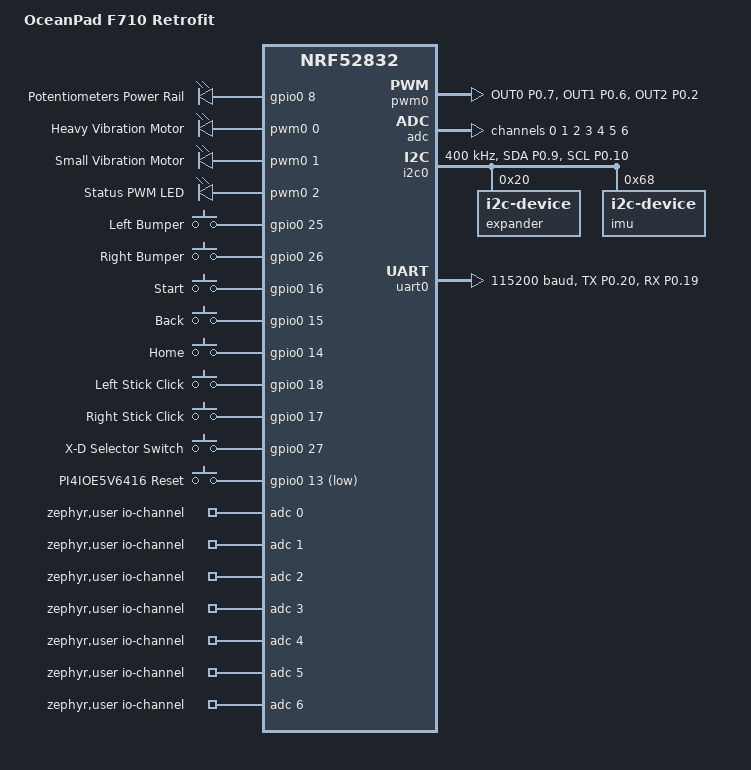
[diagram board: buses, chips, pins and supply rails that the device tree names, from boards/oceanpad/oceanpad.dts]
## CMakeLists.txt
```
cmake_minimum_required(VERSION 3.20.0)

find_package(Zephyr REQUIRED HINTS $ENV{ZEPHYR_BASE})
project(oceanpad)

# 1. Add 'include' directory to the search path
target_include_directories(app PRIVATE include)

# 2. Automatically find all .cpp files in the src directory
file(GLOB_RECURSE app_sources src/*.cpp)

# 3. Add all found files to the build
target_sources(app PRIVATE ${app_sources})
```

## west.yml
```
 manifest:
  remotes:
    - name: zephyrproject-rtos
      url-base: https://github.com/zephyrproject-rtos

  projects:
    - name: zephyr
      remote: zephyrproject-rtos
      revision: v4.3.0
      import:
        name-allowlist:
          - hal_nordic
          - mbedtls
          - cmsis_6

  self:
    path: oceanpad
```

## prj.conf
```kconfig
CONFIG_CPP=y
CONFIG_STD_CPP20=y
CONFIG_EXTERNAL_LIBCPP=n

CONFIG_SERIAL=y
CONFIG_CONSOLE=y
CONFIG_UART_CONSOLE=y
CONFIG_LOG=y
CONFIG_LOG_BACKEND_UART=y
CONFIG_I2C=y
CONFIG_ADC=y
CONFIG_GPIO=y
CONFIG_LED=y
CONFIG_LED_GPIO=y
CONFIG_REBOOT=y
CONFIG_FLASH=y
CONFIG_FLASH_PAGE_LAYOUT=y
CONFIG_FLASH_MAP=y
CONFIG_NVS=y
CONFIG_SETTINGS_NVS=y
CONFIG_SETTINGS=y
CONFIG_PWM=y

CONFIG_CLOCK_CONTROL_NRF_K32SRC_XTAL=y

CONFIG_BT=y
CONFIG_BT_PERIPHERAL=y
CONFIG_BT_DEVICE_NAME_DYNAMIC=y
CONFIG_BT_DEVICE_NAME_MAX=32
CONFIG_BT_DEVICE_APPEARANCE_DYNAMIC=y

CONFIG_BT_GATT_CLIENT=y
CONFIG_BT_GATT_DYNAMIC_DB=y

CONFIG_BT_PRIVACY=y
CONFIG_BT_BONDABLE=y
CONFIG_BT_SETTINGS=y
CONFIG_BT_ID_MAX=2
CONFIG_BT_MAX_PAIRED=3
CONFIG_BT_MAX_CONN=4
CONFIG_BT_FILTER_ACCEPT_LIST=y
CONFIG_BT_FIXED_PASSKEY=n

CONFIG_BT_PERIPHERAL_PREF_MIN_INT=6
CONFIG_BT_PERIPHERAL_PREF_MAX_INT=6
CONFIG_BT_PERIPHERAL_PREF_LATENCY=0
CONFIG_BT_PERIPHERAL_PREF_TIMEOUT=300

CONFIG_BT_SMP=y
CONFIG_BT_SMP_ALLOW_UNAUTH_OVERWRITE=y

CONFIG_BT_ID_UNPAIR_MATCHING_BONDS=y #unfortunately, I'm working on that

CONFIG_BT_DIS=n

CONFIG_BT_CTLR_TX_PWR_PLUS_4=y

#CONFIG_RESET_ON_FATAL_ERROR=n
#CONFIG_EXCEPTION_STACK_TRACE=y
#CONFIG_DEBUG_COREDUMP=y

#CONFIG_MAIN_STACK_SIZE=4096
CONFIG_SYSTEM_WORKQUEUE_STACK_SIZE=2048
#CONFIG_ISR_STACK_SIZE=2048
CONFIG_BT_RX_STACK_SIZE=2048

CONFIG_STACK_SENTINEL=y
CONFIG_INIT_STACKS=y

#CONFIG_THREAD_ANALYZER=y
#CONFIG_THREAD_ANALYZER_AUTO=y
#CONFIG_THREAD_ANALYZER_AUTO_INTERVAL=5

CONFIG_LOG_MODE_IMMEDIATE=y
```

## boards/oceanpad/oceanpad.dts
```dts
/dts-v1/;
#include <nordic/nrf52832_qfaa.dtsi>

/ {
    model = "OceanPad F710 Retrofit";
    compatible = "oceanpad";

    chosen {
        zephyr,sram = &sram0;
        zephyr,flash = &flash0;
        zephyr,code-partition = &slot0_partition;
        zephyr,console = &uart0;
        zephyr,shell-uart = &uart0;
        zephyr,settings-partition = &storage_partition;
    };

    /* Digital outputs (GPIO only) */
    leds {
        compatible = "gpio-leds";
        axes_pwr: axes_pwr_en {
            gpios = <&gpio0 8 GPIO_ACTIVE_HIGH>;
            label = "Potentiometers Power Rail";
        };
    };

    /* PWM Outputs: Vibration Motors & Status LED */
    pwmleds {
        compatible = "pwm-leds";
        motor_big: motor_0 {
            pwms = <&pwm0 0 PWM_USEC(50) PWM_POLARITY_NORMAL>;
            label = "Heavy Vibration Motor";
        };
        motor_small: motor_1 {
            pwms = <&pwm0 1 PWM_USEC(50) PWM_POLARITY_NORMAL>;
            label = "Small Vibration Motor";
        };
        status_pwm_led: led_pwm_0 {
            pwms = <&pwm0 2 PWM_USEC(50) PWM_POLARITY_NORMAL>;
            label = "Status PWM LED";
        };
    };

    /* MCU wired buttons */
    native_buttons {
        compatible = "gpio-keys";
        btn_lb: lb { gpios = <&gpio0 25 (GPIO_PULL_DOWN | GPIO_ACTIVE_HIGH)>; label = "Left Bumper"; };
        btn_rb: rb { gpios = <&gpio0 26 (GPIO_PULL_DOWN | GPIO_ACTIVE_HIGH)>; label = "Right Bumper"; };
        btn_start: start { gpios = <&gpio0 16 (GPIO_PULL_DOWN | GPIO_ACTIVE_HIGH)>; label = "Start"; };
        btn_back: back { gpios = <&gpio0 15 (GPIO_PULL_DOWN | GPIO_ACTIVE_HIGH)>; label = "Back"; };
        btn_home: home { gpios = <&gpio0 14 (GPIO_PULL_DOWN | GPIO_ACTIVE_HIGH)>; label = "Home"; };
        btn_ls: ls { gpios = <&gpio0 18 (GPIO_PULL_DOWN | GPIO_ACTIVE_HIGH)>; label = "Left Stick Click"; };
        btn_rs: rs { gpios = <&gpio0 17 (GPIO_PULL_DOWN | GPIO_ACTIVE_HIGH)>; label = "Right Stick Click"; };

        /* Mode switch selector X/D */
        mode_switch: sw {
            gpios = <&gpio0 27 (GPIO_PULL_UP | GPIO_ACTIVE_HIGH)>;
            label = "X-D Selector Switch";
        };
        expander_reset: exp_reset {
            gpios = <&gpio0 13 GPIO_ACTIVE_LOW>;
            label = "PI4IOE5V6416 Reset";
        };
    };

    /* ADC channels mapping */
    zephyr,user {
        io-channels =
            <&adc 0>, /* P0.29 - LSX (AIN5) */
            <&adc 1>, /* P0.28 - LSY (AIN4) */
            <&adc 2>, /* P0.31 - RSX (AIN7) */
            <&adc 3>, /* P0.30 - RSY (AIN6) */
            <&adc 4>, /* P0.03 - LT  (AIN1) */
            <&adc 5>, /* P0.04 - RT  (AIN2) */
            <&adc 6>; /* P0.05 - Battery (AIN3) */
    };
};

/* Hardware Overrides & Peripheral Configuration */

&pinctrl {
    uart0_default: uart0_default {
        group1 {
            psels = <NRF_PSEL(UART_TX, 0, 20)>,
                    <NRF_PSEL(UART_RX, 0, 19)>;
        };
    };

    uart0_sleep: uart0_sleep {
        group1 {
            psels = <NRF_PSEL(UART_TX, 0, 20)>,
                    <NRF_PSEL(UART_RX, 0, 19)>;
            low-power-enable;
        };
    };

    i2c0_default: i2c0_default {
        group1 {
            psels = <NRF_PSEL(TWIM_SDA, 0, 9)>,
                    <NRF_PSEL(TWIM_SCL, 0, 10)>;
        };
    };

    i2c0_sleep: i2c0_sleep {
        group1 {
            psels = <NRF_PSEL(TWIM_SDA, 0, 9)>,
                    <NRF_PSEL(TWIM_SCL, 0, 10)>;
            low-power-enable;
        };
    };

    pwm0_default: pwm0_default {
        group1 {
            psels = <NRF_PSEL(PWM_OUT0, 0, 7)>,  /* Heavy Motor */
                    <NRF_PSEL(PWM_OUT1, 0, 6)>,  /* Small Motor */
                    <NRF_PSEL(PWM_OUT2, 0, 2)>;  /* Status LED */
            nordic,drive-mode = <NRF_DRIVE_H0H1>;
        };
    };

    pwm0_sleep: pwm0_sleep {
        group1 {
            psels = <NRF_PSEL(PWM_OUT0, 0, 7)>,
                    <NRF_PSEL(PWM_OUT1, 0, 6)>,
                    <NRF_PSEL(PWM_OUT2, 0, 2)>;
            low-power-enable;
        };
    };
};

&reg {
    regulator-initial-mode = <NRF5X_REG_MODE_DCDC>;
};

&uicr {
    nfct-pins-as-gpios;
};

&gpio0 {
    status = "okay";
};

&gpiote {
    status = "okay";
};

&pwm0 {
    status = "okay";
    pinctrl-0 = <&pwm0_default>;
    pinctrl-1 = <&pwm0_sleep>;
    pinctrl-names = "default", "sleep";
};

&adc {
    status = "okay";
    #address-cells = <1>;
    #size-cells = <0>;

    channel@0 {
        reg = <0>;
        zephyr,gain = "ADC_GAIN_1_4";
        zephyr,reference = "ADC_REF_VDD_1_4";
        zephyr,acquisition-time = <ADC_ACQ_TIME_DEFAULT>;
        zephyr,input-positive = <NRF_SAADC_AIN5>;
        zephyr,resolution = <12>;
    };

    channel@1 {
        reg = <1>;
        zephyr,gain = "ADC_GAIN_1_4";
        zephyr,reference = "ADC_REF_VDD_1_4";
        zephyr,acquisition-time = <ADC_ACQ_TIME_DEFAULT>;
        zephyr,input-positive = <NRF_SAADC_AIN4>;
        zephyr,resolution = <12>;
    };

    channel@2 {
        reg = <2>;
        zephyr,gain = "ADC_GAIN_1_4";
        zephyr,reference = "ADC_REF_VDD_1_4";
        zephyr,acquisition-time = <ADC_ACQ_TIME_DEFAULT>;
        zephyr,input-positive = <NRF_SAADC_AIN7>;
        zephyr,resolution = <12>;
    };

    channel@3 {
        reg = <3>;
        zephyr,gain = "ADC_GAIN_1_4";
        zephyr,reference = "ADC_REF_VDD_1_4";
        zephyr,acquisition-time = <ADC_ACQ_TIME_DEFAULT>;
        zephyr,input-positive = <NRF_SAADC_AIN6>;
        zephyr,resolution = <12>;
    };

    channel@4 {
        reg = <4>;
        zephyr,gain = "ADC_GAIN_1_4";
        zephyr,reference = "ADC_REF_VDD_1_4";
        zephyr,acquisition-time = <ADC_ACQ_TIME_DEFAULT>;
        zephyr,input-positive = <NRF_SAADC_AIN1>;
        zephyr,resolution = <12>;
    };

    channel@5 {
        reg = <5>;
        zephyr,gain = "ADC_GAIN_1_4";
        zephyr,reference = "ADC_REF_VDD_1_4";
        zephyr,acquisition-time = <ADC_ACQ_TIME_DEFAULT>;
        zephyr,input-positive = <NRF_SAADC_AIN2>;
        zephyr,resolution = <12>;
    };

    channel@6 {
        reg = <6>;
        zephyr,gain = "ADC_GAIN_1_3";
        zephyr,reference = "ADC_REF_INTERNAL";
        zephyr,acquisition-time = <ADC_ACQ_TIME_DEFAULT>;
        zephyr,input-positive = <NRF_SAADC_AIN3>;
        zephyr,resolution = <12>;
    };
};

&i2c0 {
    compatible = "nordic,nrf-twim";
    status = "okay";
    pinctrl-0 = <&i2c0_default>;
    pinctrl-1 = <&i2c0_sleep>;
    pinctrl-names = "default", "sleep";
    clock-frequency = <I2C_BITRATE_FAST>;

    expander: pi4ioe5v6416@20 {
        compatible = "i2c-device";
        reg = <0x20>;
    };

    imu: icm42688@68 {
        compatible = "i2c-device";
        reg = <0x68>;
    };
};

&uart0 {
    compatible = "nordic,nrf-uarte";
    status = "okay";
    current-speed = <115200>;
    pinctrl-0 = <&uart0_default>;
    pinctrl-1 = <&uart0_sleep>;
    pinctrl-names = "default", "sleep";
};

&flash0 {
    partitions {
        compatible = "fixed-partitions";
        #address-cells = <1>;
        #size-cells = <1>;

        boot_partition: partition@0 { label = "mcuboot"; reg = <0x00000000 0xc000>; };
        slot0_partition: partition@c000 { label = "image-0"; reg = <0x0000c000 0x32000>; };
        slot1_partition: partition@3e000 { label = "image-1"; reg = <0x0003e000 0x32000>; };
        scratch_partition: partition@70000 { label = "image-scratch"; reg = <0x00070000 0xa000>; };
        storage_partition: partition@7a000 { label = "storage"; reg = <0x0007a000 0x00006000>; };
    };
};
```

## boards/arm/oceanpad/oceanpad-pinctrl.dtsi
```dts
&pinctrl {
    uart0_default: uart0_default {
        group1 {
            psels = <NRF_PSEL(UART_TX, 0, 20)>,
                    <NRF_PSEL(UART_RX, 0, 19)>;
        };
    };

    uart0_sleep: uart0_sleep {
        group1 {
            psels = <NRF_PSEL(UART_TX, 0, 20)>,
                    <NRF_PSEL(UART_RX, 0, 19)>;
            low-power-enable;
        };
    };

    i2c0_default: i2c0_default {
        group1 {
            psels = <NRF_PSEL(TWIM_SDA, 0, 9)>,
                    <NRF_PSEL(TWIM_SCL, 0, 10)>;
        };
    };

    i2c0_sleep: i2c0_sleep {
        group1 {
            psels = <NRF_PSEL(TWIM_SDA, 0, 9)>,
                    <NRF_PSEL(TWIM_SCL, 0, 10)>;
            low-power-enable;
        };
    };

    pwm0_default: pwm0_default {
        group1 {
            psels = <NRF_PSEL(PWM_OUT0, 0, 7)>,  /* Heavy Motor */
                    <NRF_PSEL(PWM_OUT1, 0, 6)>;  /* Small Motor */
            nordic,drive-mode = <NRF_DRIVE_H0H1>;
        };
    };

    pwm0_sleep: pwm0_sleep {
        group1 {
            psels = <NRF_PSEL(PWM_OUT0, 0, 7)>,
                    <NRF_PSEL(PWM_OUT1, 0, 6)>;
            low-power-enable;
        };
    };
};
```

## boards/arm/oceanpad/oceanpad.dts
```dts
/dts-v1/;
#include <nordic/nrf52832_qfaa.dtsi>
#include "oceanpad-pinctrl.dtsi"

/ {
    model = "OceanPad F710 Retrofit";
    compatible = "oceanpad";

    chosen {
        zephyr,sram = &sram0;
        zephyr,flash = &flash0;
        zephyr,code-partition = &slot0_partition;
        zephyr,console = &uart0;
        zephyr,shell-uart = &uart0;
        zephyr,settings-partition = &storage_partition;
    };

    /* Digital outputs (GPIO only) */
    leds {
        compatible = "gpio-leds";
        status_led: led_0 {
            gpios = <&gpio0 2 GPIO_ACTIVE_HIGH>;
            label = "Status LED";
        };
        axes_pwr: axes_pwr_en {
            gpios = <&gpio0 8 GPIO_ACTIVE_HIGH>;
            label = "Potentiometers Power Rail";
        };
    };

    /* PWM Vibration Motors */
    pwmleds {
        compatible = "pwm-leds";
        motor_big: motor_0 {
            pwms = <&pwm0 0 PWM_USEC(50) PWM_POLARITY_NORMAL>;
            label = "Heavy Vibration Motor";
        };
        motor_small: motor_1 {
            pwms = <&pwm0 1 PWM_USEC(50) PWM_POLARITY_NORMAL>;
            label = "Small Vibration Motor";
        };
    };

    /* MCU wired buttons */
    native_buttons {
        compatible = "gpio-keys";
        btn_lb: lb { gpios = <&gpio0 25 (GPIO_PULL_DOWN | GPIO_ACTIVE_HIGH)>; label = "Left Bumper"; };
        btn_rb: rb { gpios = <&gpio0 26 (GPIO_PULL_DOWN | GPIO_ACTIVE_HIGH)>; label = "Right Bumper"; };
        btn_start: start { gpios = <&gpio0 16 (GPIO_PULL_DOWN | GPIO_ACTIVE_HIGH)>; label = "Start"; };
        btn_back: back { gpios = <&gpio0 15 (GPIO_PULL_DOWN | GPIO_ACTIVE_HIGH)>; label = "Back"; };
        btn_home: home { gpios = <&gpio0 14 (GPIO_PULL_DOWN | GPIO_ACTIVE_HIGH)>; label = "Home"; };
        btn_ls: ls { gpios = <&gpio0 18 (GPIO_PULL_DOWN | GPIO_ACTIVE_HIGH)>; label = "Left Stick Click"; };
        btn_rs: rs { gpios = <&gpio0 17 (GPIO_PULL_DOWN | GPIO_ACTIVE_HIGH)>; label = "Right Stick Click"; };

        /* Mode switch selector X/D */
        mode_switch: sw {
            gpios = <&gpio0 27 (GPIO_PULL_UP | GPIO_ACTIVE_HIGH)>;
            label = "X-D Selector Switch";
        };
        expander_reset: exp_reset {
            gpios = <&gpio0 13 GPIO_ACTIVE_LOW>; // Активный низкий уровень
            label = "PI4IOE5V6416 Reset";
        };
    };

    /* ADC channels mapping */
    zephyr,user {
        io-channels =
            <&adc 0>, /* P0.29 - LSX (AIN5) */
            <&adc 1>, /* P0.28 - LSY (AIN4) */
            <&adc 2>, /* P0.31 - RSX (AIN7) */
            <&adc 3>, /* P0.30 - RSY (AIN6) */
            <&adc 4>, /* P0.03 - LT  (AIN1) */
            <&adc 5>, /* P0.04 - RT  (AIN2) */
            <&adc 6>; /* P0.05 - Battery (AIN3) */
    };
};

/* Hardware Overrides */

&reg {
    regulator-initial-mode = <NRF5X_REG_MODE_DCDC>;
};

&uicr {
    nfct-pins-as-gpios;
};

&gpio0 {
    status = "okay";
};

&gpiote {
    status = "okay";
};

&pwm0 {
    status = "okay";
    pinctrl-0 = <&pwm0_default>;
    pinctrl-1 = <&pwm0_sleep>;
    pinctrl-names = "default", "sleep";
};

&adc {
    status = "okay";
    #address-cells = <1>;
    #size-cells = <0>;

    channel@0 {
        reg = <0>;
        zephyr,gain = "ADC_GAIN_1_4";
        zephyr,reference = "ADC_REF_VDD_1_4";
        zephyr,acquisition-time = <ADC_ACQ_TIME_DEFAULT>;
        zephyr,input-positive = <NRF_SAADC_AIN5>;
        zephyr,resolution = <12>;
    };

    channel@1 {
        reg = <1>;
        zephyr,gain = "ADC_GAIN_1_4";
        zephyr,reference = "ADC_REF_VDD_1_4";
        zephyr,acquisition-time = <ADC_ACQ_TIME_DEFAULT>;
        zephyr,input-positive = <NRF_SAADC_AIN4>;
        zephyr,resolution = <12>;
    };

    channel@2 {
        reg = <2>;
        zephyr,gain = "ADC_GAIN_1_4";
        zephyr,reference = "ADC_REF_VDD_1_4";
        zephyr,acquisition-time = <ADC_ACQ_TIME_DEFAULT>;
        zephyr,input-positive = <NRF_SAADC_AIN7>;
        zephyr,resolution = <12>;
    };

    channel@3 {
        reg = <3>;
        zephyr,gain = "ADC_GAIN_1_4";
        zephyr,reference = "ADC_REF_VDD_1_4";
        zephyr,acquisition-time = <ADC_ACQ_TIME_DEFAULT>;
        zephyr,input-positive = <NRF_SAADC_AIN6>;
        zephyr,resolution = <12>;
    };

    channel@4 {
        reg = <4>;
        zephyr,gain = "ADC_GAIN_1_4";
        zephyr,reference = "ADC_REF_VDD_1_4";
        zephyr,acquisition-time = <ADC_ACQ_TIME_DEFAULT>;
        zephyr,input-positive = <NRF_SAADC_AIN1>;
        zephyr,resolution = <12>;
    };

    channel@5 {
        reg = <5>;
        zephyr,gain = "ADC_GAIN_1_4";
        zephyr,reference = "ADC_REF_VDD_1_4";
        zephyr,acquisition-time = <ADC_ACQ_TIME_DEFAULT>;
        zephyr,input-positive = <NRF_SAADC_AIN2>;
        zephyr,resolution = <12>;
    };

    channel@6 {
        reg = <6>;
        zephyr,gain = "ADC_GAIN_1_3";
        zephyr,reference = "ADC_REF_INTERNAL";
        zephyr,acquisition-time = <ADC_ACQ_TIME_DEFAULT>;
        zephyr,input-positive = <NRF_SAADC_AIN3>;
        zephyr,resolution = <12>;
    };
};

&i2c0 {
    compatible = "nordic,nrf-twim";
    status = "okay";
    pinctrl-0 = <&i2c0_default>;
    pinctrl-1 = <&i2c0_sleep>;
    pinctrl-names = "default", "sleep";
    clock-frequency = <I2C_BITRATE_FAST>;

    expander: pi4ioe5v6416@20 {
        compatible = "i2c-device";
        reg = <0x20>;
    };

    imu: icm42688@68 {
        compatible = "i2c-device";
        reg = <0x68>;
    };
};

&uart0 {
    compatible = "nordic,nrf-uarte";
    status = "okay";
    current-speed = <115200>;
    pinctrl-0 = <&uart0_default>;
    pinctrl-1 = <&uart0_sleep>;
    pinctrl-names = "default", "sleep";
};

&flash0 {
    partitions {
        compatible = "fixed-partitions";
        #address-cells = <1>;
        #size-cells = <1>;

        boot_partition: partition@0 { label = "mcuboot"; reg = <0x00000000 0xc000>; };
        slot0_partition: partition@c000 { label = "image-0"; reg = <0x0000c000 0x32000>; };
        slot1_partition: partition@3e000 { label = "image-1"; reg = <0x0003e000 0x32000>; };
        scratch_partition: partition@70000 { label = "image-scratch"; reg = <0x00070000 0xa000>; };
        storage_partition: partition@7a000 { label = "storage"; reg = <0x0007a000 0x00006000>; };
    };
};
```

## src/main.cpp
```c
#include "OceanPadApp.hpp"

static OceanPadApp app;

int main() {
    app.run();
    return 0;
}
```

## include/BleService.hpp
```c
#pragma once

#include <zephyr/types.h>
#include <zephyr/bluetooth/bluetooth.h>
#include <zephyr/bluetooth/gatt.h>
#include <zephyr/kernel.h>

#include "DeviceConfig.hpp"

#define MAX_REPORTS 8
#define MAX_REPORT_LEN CONFIG_BT_L2CAP_TX_MTU - 3

enum class BleServiceState : uint8_t {
    Idle,
    AdvertisingDiscoverable,
    AdvertisingUndiscoverable,
    Connected,
    ConnectedAdvertising,
};

struct ReportTableEntry {
    ReportRef ref;
    uint8_t attr_idx;
    uint8_t report_cache[MAX_REPORT_LEN];
    uint8_t report_cache_len;
};

class HidServiceCallbacks {
public:
    virtual void on_incoming_report(uint8_t report_id, const uint8_t* data, uint16_t len) const {}
    virtual void on_connected() const {}
    virtual void on_disconnected(bool graceful) const {}
    virtual void on_adv_timeout(bool discoverable) const {}
};

class BleService {
public:
    int init(const DeviceConfig* device_config);
    int set_identity(uint8_t bt_id);

    void set_callbacks(const HidServiceCallbacks* new_callbacks) { hid_callbacks = new_callbacks; }

    int start_advertising(bool discoverable);
    int stop_advertising();
    int update_report(uint8_t report_id, const uint8_t* data, uint16_t len);
    int update_battery_level(uint8_t level);

    BleServiceState get_state() const { return current_state; }
    void do_disconnect();
    bool has_bonded_peer();
    void clear_bonded_peers();

    // BAS Callbacks
    static ssize_t read_battery_level_cb(struct bt_conn *conn, const struct bt_gatt_attr *attr,
                                          void *buf, uint16_t len, uint16_t offset);
    static void battery_ccc_cfg_changed(const struct bt_gatt_attr *attr, uint16_t value);
    // DIS Callbacks
    static ssize_t read_dis_pnp_id(struct bt_conn *conn, const struct bt_gatt_attr *attr,
                                   void *buf, uint16_t len, uint16_t offset);
    static ssize_t read_dis_string(struct bt_conn *conn, const struct bt_gatt_attr *attr,
                             void *buf, uint16_t len, uint16_t offset);
    // HID Callbacks
    static ssize_t read_info_cb(struct bt_conn *conn, const struct bt_gatt_attr *attr,
                               void *buf, uint16_t len, uint16_t offset);
    static ssize_t write_ctrl_point_cb(struct bt_conn *conn, const struct bt_gatt_attr *attr,
                                       const void *buf, uint16_t len, uint16_t offset, uint8_t flags);
    static ssize_t read_report_map_cb(struct bt_conn *conn, const struct bt_gatt_attr *attr,
                                    void *buf, uint16_t len, uint16_t offset);
    static ssize_t read_report_cb(struct bt_conn *conn, const struct bt_gatt_attr *attr,
                                      void *buf, uint16_t len, uint16_t offset);
    static ssize_t write_report_cb(struct bt_conn *conn, const struct bt_gatt_attr *attr,
                                          const void *buf, uint16_t len, uint16_t offset, uint8_t flags);
    static ssize_t read_report_ref_cb(struct bt_conn *conn, const struct bt_gatt_attr *attr,
                                     void *buf, uint16_t len, uint16_t offset);
private:
    static void add_characteristic(
        struct bt_gatt_attr *attr_array, uint8_t &a_idx,
        struct bt_gatt_chrc *chrc_pool, uint8_t &c_idx,
        const struct bt_uuid *uuid, uint8_t props, uint16_t perm,
        bt_gatt_attr_read_func_t read, bt_gatt_attr_write_func_t write, void *user_data
    );
    int init_dis(const DisConfig* dis);
    int init_hid(const HidConfig* hid);
    void init_advertising();
    void restart_advertising();

    uint8_t last_battery_level;

    uint8_t current_bt_id;

    bt_gatt_exchange_params exchange_params;

    const DisConfig* dis_ptr;

    struct bt_gatt_attr dis_attrs[20];
    struct bt_gatt_chrc dis_chrcs[9];
    struct bt_gatt_service dis_svc;

    struct bt_gatt_attr hids_attrs[8 + (MAX_REPORTS * 4)];
    struct bt_gatt_chrc hids_chrcs[MAX_REPORTS + 3];
    struct bt_gatt_ccc_managed_user_data hids_ccc_pool[MAX_REPORTS];
    struct bt_gatt_service hids_svc;

    ReportTableEntry report_storage[MAX_REPORTS];
    uint8_t report_count;

    const uint8_t* current_report_map;
    uint16_t current_report_map_size;

    uint16_t appearance;
    static inline const uint8_t uuids[] = {
        BT_UUID_16_ENCODE(BT_UUID_HIDS_VAL),
        BT_UUID_16_ENCODE(BT_UUID_DIS_VAL),
        BT_UUID_16_ENCODE(BT_UUID_BAS_VAL)
    };
    struct bt_data ad_discoverable[3] = {
        BT_DATA_BYTES(BT_DATA_FLAGS, BT_LE_AD_GENERAL | BT_LE_AD_NO_BREDR),
        BT_DATA(BT_DATA_UUID16_ALL, uuids, sizeof(uuids)),
        BT_DATA(0, 0, 0), //to be filled in the code
    };
    struct bt_data sd_discoverable[1]= {
        BT_DATA(0, 0, 0), //to be filled in the code
    };
    static inline const struct bt_data ad_undiscoverable[1] = {
        BT_DATA_BYTES(BT_DATA_FLAGS, BT_LE_AD_NO_BREDR),
    };

    struct bt_le_adv_param adv_param_discoverable  = BT_LE_ADV_PARAM_INIT(
        BT_LE_ADV_OPT_CONN | BT_LE_ADV_OPT_USE_IDENTITY,
        BT_GAP_ADV_FAST_INT_MIN_1,
        BT_GAP_ADV_FAST_INT_MAX_1,
        nullptr
    );
    struct bt_le_adv_param adv_param_undiscoverable = BT_LE_ADV_PARAM_INIT(
        BT_LE_ADV_OPT_CONN | BT_LE_ADV_OPT_USE_IDENTITY | BT_LE_ADV_OPT_FILTER_CONN | BT_LE_ADV_OPT_FILTER_SCAN_REQ,
        BT_GAP_ADV_FAST_INT_MIN_1,
        BT_GAP_ADV_FAST_INT_MAX_1,
        nullptr
    );

    BleServiceState current_state;
    struct bt_conn *current_conn;

    struct k_work_delayable adv_timeout_work;
    static void on_adv_timeout(struct k_work *work);

    struct k_mutex report_mutex;
    uint8_t input_report_cache[MAX_REPORT_LEN];
    uint16_t input_report_cache_len;

    const HidServiceCallbacks* hid_callbacks{ nullptr };

    bool mtu_negotiated{ false };
    bool battery_notify_enable{ false };

    static inline const uint16_t ADV_TIMEOUT_S = 60;
};
```

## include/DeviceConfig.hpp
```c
#pragma once

#include <zephyr/types.h>

#include "ReportCodec/ReportCodecXbox.hpp"
#include "ReportCodec/ReportCodec8BitDo.hpp"
#include "hid_report_maps.hpp"

using ReportCodecOceanPad = ReportCodec<GamepadState, VibrationDataXbox>;

struct PnpID {
    uint8_t  src;
    uint16_t vid;
    uint16_t pid;
    uint16_t ver;
}  __packed;

struct DisConfig {
    PnpID pnp_id;
    const char* manufacturer;
    const char* model;
    const char* serial;
    const char* fw_rev;
};

enum class HidReportType : uint8_t {
    Input = 0x01,
    Output = 0x02,
    Feature = 0x03,
};

struct ReportRef {
    uint8_t id;
    HidReportType type;
} __packed;

struct HidConfig {
    const uint8_t* report_map;
    size_t report_map_size;
    const ReportRef* reports;
    uint8_t report_count;
};

struct DeviceConfig {
    const char* name;
    uint16_t appearance;
    DisConfig dis_config;
    HidConfig hid_config;
    const ReportCodecOceanPad* report_codec;
    uint32_t interval_us;
};

static inline const ReportCodecXbox xbox_codec;
static inline const ReportCodec8BitDo abitdo_codec;

static inline const ReportRef xbox_reports[] = {
    { 0x01, HidReportType::Input },
    { 0x03, HidReportType::Output }
};

static inline const ReportRef abitdo_reports[] = {
    { 0x01, HidReportType::Input },
    { 0x05, HidReportType::Output }
};

static inline const DeviceConfig oceanpad_config_variants[] = {
    {
        .name = "Xbox Wireless Controller",
        .appearance = 964,
        .dis_config = {
            .pnp_id = {
                .src = 2,
                .vid = 0x045E,
                .pid = 0x0B13,
                .ver = 0x0523,
            },
            .manufacturer = "Microsoft",
            .model = nullptr,
            .serial = "18062023",
            .fw_rev = "OceanPad",
        },
        .hid_config = {
            .report_map = report_map_xbox,
            .report_map_size = ARRAY_SIZE(report_map_xbox),
            .reports = xbox_reports,
            .report_count = ARRAY_SIZE(xbox_reports),
        },
        .report_codec = &xbox_codec,
        .interval_us = 7500,
    },
    {
        .name = "OceanPad",
        .appearance = 964,
        .dis_config = {
            .pnp_id = {
                .src = 2,
                .vid = 0x2DC8,
                .pid = 0x6012,
                .ver = 0x0001,
            },
            .manufacturer = "Vodka Bears",
            .model = nullptr,
            .serial = "18062023",
            .fw_rev = "OceanPad",
        },
        .hid_config = {
            .report_map = report_map_8bitdo,
            .report_map_size = ARRAY_SIZE(report_map_8bitdo),
            .reports = abitdo_reports,
            .report_count = ARRAY_SIZE(abitdo_reports),
        },
        .report_codec = &abitdo_codec,
        .interval_us = 8333,
    },
};
```

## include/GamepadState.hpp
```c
#pragma once

#include <zephyr/types.h>

struct AnalogAxes {
    int16_t stick_lx, stick_ly;
    int16_t stick_rx, stick_ry;
    uint16_t trigger_lt, trigger_rt;
};

struct DigitalButtons {
    uint16_t a : 1;
    uint16_t b : 1;
    uint16_t x : 1;
    uint16_t y : 1;

    uint16_t lb : 1;
    uint16_t rb : 1;

    uint16_t ls : 1;
    uint16_t rs : 1;

    uint16_t start : 1;
    uint16_t back  : 1;
    uint16_t home  : 1;

    uint16_t mode  : 1;
    uint16_t vibr  : 1;

    uint16_t xd_switch : 1;

    uint16_t pad : 2;
};

enum class DPadState : uint8_t {
    Up = 0,
    UpRight,
    Right,
    DownRight,
    Down,
    DownLeft,
    Left,
    UpLeft,
    Centered,
};

struct IMUData {
    int16_t gyro[3];
    int16_t accel[3];
};

struct GamepadState {
    AnalogAxes axes;
    DigitalButtons buttons;
    DPadState dpad;
    IMUData imu_data;
    uint8_t battery_percent;
};

struct __packed VibrationDataXbox {
    uint8_t enable_right_motor : 1;
    uint8_t enable_left_motor : 1;
    uint8_t enable_right_trigger : 1;
    uint8_t enable_left_trigger : 1;
    uint8_t pad_enable       : 4;

    uint8_t magnitude_left_trigger;
    uint8_t magnitude_right_trigger;
    uint8_t magnitude_left_motor;
    uint8_t magnitude_right_motor;

    uint8_t duration;

    uint8_t start_delay;

    uint8_t loop_count;
};
```

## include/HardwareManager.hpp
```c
#pragma once

#include <zephyr/kernel.h>
#include <zephyr/drivers/gpio.h>
#include <zephyr/drivers/i2c.h>
#include <zephyr/drivers/adc.h>
#include <zephyr/drivers/pwm.h>
#include <zephyr/settings/settings.h>
#include "GamepadState.hpp"

struct NativeButtons {
    uint8_t lb : 1;
    uint8_t rb : 1;
    uint8_t ls : 1;
    uint8_t rs : 1;

    uint8_t start : 1;
    uint8_t back  : 1;
    uint8_t home  : 1;
    uint8_t switch_xd   : 1;
};

struct __packed ExpanderButtons {
    uint8_t dpad_left   : 1;
    uint8_t dpad_down   : 1;
    uint8_t dpad_up     : 1;
    uint8_t pad1        : 1;
    uint8_t dpad_right  : 1;
    uint8_t mode        : 1;
    uint8_t vibr        : 1;
    uint8_t pad2        : 1;

    uint8_t a           : 1;
    uint8_t x           : 1;
    uint8_t y           : 1;
    uint8_t b           : 1;
    uint8_t pad3        : 4;
};

struct RawAxes {
    uint16_t raw_lx;
    uint16_t raw_ly;
    uint16_t raw_rx;
    uint16_t raw_ry;
    uint16_t raw_lt;
    uint16_t raw_rt;
};

struct RawData {
    NativeButtons native_buttons;
    ExpanderButtons expander_buttons;
    RawAxes raw_axes;
    IMUData raw_imu;
};

struct StickCalib {
    uint16_t min;
    uint16_t max;
    uint16_t center;
};

struct TriggerCalib {
    uint16_t min;
    uint16_t max;
};

struct CalibData {
    StickCalib lx;
    StickCalib ly;
    StickCalib rx;
    StickCalib ry;

    TriggerCalib lt;
    TriggerCalib rt;
};

enum class CalibState : uint8_t {
    Idle,
    WaitingForCenter,
    MeasuringLimits,
    Saving
};

class HardwareManager {
public:
    HardwareManager();

    int init();
    void update_phys();
    void update_imu();

    GamepadState get_state_copy();

    void set_vibration(VibrationData vibr_d);

    void set_led(bool is_on);

    uint8_t get_battery_percent();

    void start_calibration();
    bool is_calibration();

    void restart();
    void sleep();

    static int settings_set(const char *name, size_t len, settings_read_cb read_cb, void *cb_arg);

    void debug_print_raw();

private:
    int setup_expander();
    int setup_imu();

    void update_expander();
    void update_native_buttons();
    void update_analog();

    void copy_expander();
    void copy_native_buttons();
    void copy_analog();

    void calibration_routine();
    void save_calibration();

    static AnalogAxes get_calibrated_axes(const RawAxes& raw_axes, const CalibData& calib_data);
    static int16_t get_calibrated_stick(const uint16_t raw_stick, const StickCalib& stick_calib, uint16_t center_dz, uint16_t edge_dz, bool is_inverted);
    static uint16_t get_calibrated_trigger(const uint16_t raw_trigger, const TriggerCalib& trigger_calib, uint16_t edge_dz);

    static DPadState get_dpad_state(uint8_t mask);

    static constexpr struct pwm_dt_spec motor_big = PWM_DT_SPEC_GET(DT_NODELABEL(motor_big));
    static constexpr struct pwm_dt_spec motor_small = PWM_DT_SPEC_GET(DT_NODELABEL(motor_small));

    static constexpr struct gpio_dt_spec axes_pwr = GPIO_DT_SPEC_GET(DT_NODELABEL(axes_pwr), gpios);
    static constexpr struct gpio_dt_spec status_led = GPIO_DT_SPEC_GET(DT_NODELABEL(status_led), gpios);
    static constexpr gpio_dt_spec exp_reset = GPIO_DT_SPEC_GET(DT_NODELABEL(expander_reset), gpios);

    struct NatvieButtonsPins {
         gpio_dt_spec lb ;
         gpio_dt_spec rb;
         gpio_dt_spec ls;
         gpio_dt_spec rs;
         gpio_dt_spec start;
         gpio_dt_spec back;
         gpio_dt_spec home;
    };

    static constexpr NatvieButtonsPins native_pins {
        .lb = GPIO_DT_SPEC_GET(DT_NODELABEL(btn_lb), gpios),
        .rb = GPIO_DT_SPEC_GET(DT_NODELABEL(btn_rb), gpios),
        .ls = GPIO_DT_SPEC_GET(DT_NODELABEL(btn_ls), gpios),
        .rs = GPIO_DT_SPEC_GET(DT_NODELABEL(btn_rs), gpios),
        .start = GPIO_DT_SPEC_GET(DT_NODELABEL(btn_start), gpios),
        .back = GPIO_DT_SPEC_GET(DT_NODELABEL(btn_back), gpios),
        .home = GPIO_DT_SPEC_GET(DT_NODELABEL(btn_home), gpios),
    };

    static constexpr gpio_dt_spec xd_switch = GPIO_DT_SPEC_GET(DT_NODELABEL(mode_switch), gpios);

    struct AxesChannels {
        adc_dt_spec lx;
        adc_dt_spec ly;
        adc_dt_spec rx;
        adc_dt_spec ry;
        adc_dt_spec lt;
        adc_dt_spec rt;
        adc_dt_spec vbat;
    };

    static constexpr AxesChannels axes_channels {
        .lx = ADC_DT_SPEC_GET_BY_IDX(DT_PATH(zephyr_user), 0),
        .ly = ADC_DT_SPEC_GET_BY_IDX(DT_PATH(zephyr_user), 1),
        .rx = ADC_DT_SPEC_GET_BY_IDX(DT_PATH(zephyr_user), 2),
        .ry = ADC_DT_SPEC_GET_BY_IDX(DT_PATH(zephyr_user), 3),
        .lt = ADC_DT_SPEC_GET_BY_IDX(DT_PATH(zephyr_user), 4),
        .rt = ADC_DT_SPEC_GET_BY_IDX(DT_PATH(zephyr_user), 5),
        .vbat = ADC_DT_SPEC_GET_BY_IDX(DT_PATH(zephyr_user), 6)
    };

    struct k_mutex data_mutex;

    GamepadState input_state;

    RawData raw_data;

    AnalogAxes axes;

    CalibData calib_data;

    CalibState calib_state;

    /* Device handles */
    const struct device* i2c_bus;
    const struct device* adc_dev;

    static inline const uint8_t MIN_MOTOR_PERCENT = 50;
    static inline const uint16_t CENTER_DEADZONE = 65;
    static inline const uint16_t EDGE_DEADZONE = 40;

    static inline const uint32_t VBAT_SCALE_MUL = 201;
    static inline const uint32_t VBAT_SCALE_DIV = 100;
    static inline const uint32_t BAT_MV_100 = 2900;
    static inline const uint32_t BAT_MV_0 = 2200;

    static HardwareManager* instance;
};
```

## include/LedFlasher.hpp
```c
#pragma once
#include <zephyr/kernel.h>

/**
 * @brief Parameters for LED flashing patterns.
 */
struct LedParams {
    uint8_t  count;          // Number of flashes in a series
    uint16_t on_time_ms;     // Duration of each flash
    uint16_t off_time_ms;    // Pause between flashes within a series
    uint16_t delay_time_ms;  // Pause between series
};

/**
 * @brief Function pointer type for hardware control.
 * @param state true to turn LED on, false to turn it off.
 * @param context User-provided pointer (usually an instance of a manager class).
 */
typedef void (*LedSetStateCallback)(bool state, void* context);

class LedFlasher {
public:
    LedFlasher();

    /**
     * @brief Connects the flasher to the hardware.
     */
    void set_handler(LedSetStateCallback cb, void* context);

    /**
     * @brief Starts a flashing pattern.
     */
    void start(const LedParams& params);

    /**
     * @brief Stops flashing and turns the LED off.
     */
    void stop();

    /**
     * @brief Manual overrides (stops active flashing).
     */
    void turn_on();
    void turn_off();

private:
    struct k_work_delayable work;
    LedParams current_params;

    LedSetStateCallback handler_cb = nullptr;
    void* handler_context = nullptr;

    uint8_t current_count = 0;
    bool is_active = false;
    bool led_is_on = false;

    static void work_handler(struct k_work* work_ptr);
    void process();
    void notify(bool state);
};
```

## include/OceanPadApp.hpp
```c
#pragma once
#include "HardwareManager/HardwareManager.hpp"
#include "BleService.hpp"
#include "SystemProcessor.hpp"
#include "DeviceConfig.hpp"

class OceanPadApp {
public:
    void run();

private:
    static void input_thread_fn(void *arg1, void *arg2, void *arg3);
    static void system_thread_fn(void *arg1, void *arg2, void *arg3);

    void input_loop();
    void system_loop();

    void handle_incoming_report(uint8_t report_id, const uint8_t* data, uint16_t len);

    HardwareManager hardware_manager;

    using ReportCodecOceanPad = ReportCodec<GamepadState, VibrationDataXbox>;

    const ReportCodecOceanPad* current_codec = nullptr;

    SystemProcessor system_processor;

    static BleService ble_service;
    uint64_t interval_us = 7500;

    uint8_t input_report_buffer[34];

    GamepadState gamepad_state;

    static inline const uint16_t SYSTEM_LOOP_PERIOD_MS = 250;

    struct k_thread input_thread_data;
    struct k_thread system_thread_data;
    K_KERNEL_STACK_MEMBER(input_stack, 1024);
    K_KERNEL_STACK_MEMBER(system_stack, 1024);

    class OceanPadHidCallbacks : public HidServiceCallbacks {
    public:
        virtual void on_incoming_report(uint8_t report_id, const uint8_t* data, uint16_t len) const override;
        virtual void on_connected() const override;
        virtual void on_disconnected(bool graceful) const override;
        virtual void on_adv_timeout(bool discoverable) const override;
        void set_ptr(OceanPadApp* new_ptr) { app_ptr = new_ptr; }
    private:
        OceanPadApp* app_ptr{ nullptr };
    } hid_callbacks;
};
```

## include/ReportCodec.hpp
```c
#pragma once
#include <zephyr/types.h>

template <typename Tinput, typename TOutput>
class ReportCodec {
public:
    virtual ~ReportCodec() = default;

    virtual uint8_t encode_input(uint8_t report_id, const Tinput& data, uint8_t* buffer, uint16_t buffer_len) const = 0;
    virtual TOutput decode_output(uint8_t report_id, const uint8_t* report_buffer, uint16_t report_len) const = 0;
};
```

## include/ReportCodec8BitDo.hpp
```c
#pragma once
#include "ReportCodec.hpp"
#include "GamepadState.hpp"

class ReportCodec8BitDo : public ReportCodec<GamepadState, VibrationDataXbox> {
public:
    virtual uint8_t encode_input(uint8_t report_id, const GamepadState& data, uint8_t* report_buffer, uint16_t report_len) const override;
    virtual uint8_t decode_output(uint8_t report_id, VibrationDataXbox& data, const uint8_t* report_buffer, uint16_t report_len) const override;
};

struct __packed InputReport8BitDo {
    uint8_t  dpad      : 4;
    uint8_t  pad_dpad  : 4;

    uint8_t  lx;
    uint8_t  ly;
    uint8_t  rx;
    uint8_t  ry;

    uint8_t  rt;
    uint8_t  lt;

    uint8_t  a  : 1;
    uint8_t  b  : 1;
    uint8_t  pl : 1;
    uint8_t  x  : 1;
    uint8_t  y  : 1;
    uint8_t  pr : 1;
    uint8_t  lb : 1;
    uint8_t  rb : 1;

    uint8_t  lt_btn : 1;
    uint8_t  rt_btn : 1;
    uint8_t  view   : 1;
    uint8_t  menu   : 1;
    uint8_t  home   : 1;
    uint8_t  ls     : 1;
    uint8_t  rs     : 1;
    uint8_t  pad_b1 : 1;

    uint8_t  l4     : 1;
    uint8_t  r4     : 1;
    uint8_t  pad_b2 : 6;

    uint8_t  vendor_zero;
    uint8_t  const12;
    uint8_t  const60;
    uint8_t  battery;

    int16_t  accel[3];
    int16_t  gyro[3];

    uint8_t  vendor_padding[7];
};

struct __packed OutputReport8BitDo {
    uint8_t motor_big;
    uint8_t motor_small;
    uint8_t padding[2];
};
```

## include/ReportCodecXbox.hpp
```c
#pragma once
#include "ReportCodec.hpp"
#include "GamepadState.hpp"

class ReportCodecXbox : public ReportCodec<GamepadState, VibrationDataXbox> {
public:
    virtual uint8_t encode_input(uint8_t report_id, const GamepadState& data, uint8_t* report_buffer, uint16_t report_len) const override;
    virtual uint8_t decode_output(uint8_t report_id, VibrationDataXbox& data, const uint8_t* report_buffer, uint16_t report_len) const override;
};

struct __packed InputReportXbox {
    uint16_t lx;
    uint16_t ly;
    uint16_t rx;
    uint16_t ry;

    uint16_t lt : 10;
    uint16_t pad_lt : 6;

    uint16_t rt : 10;
    uint16_t pad_rt : 6;

    uint8_t  hat  : 4;
    uint8_t  pad_hat : 4;

    uint16_t a      : 1; // 0x01
    uint16_t b      : 1; // 0x02
    uint16_t pad_b1 : 1; // 0x04 (skip)
    uint16_t x      : 1; // 0x08
    uint16_t y      : 1; // 0x10
    uint16_t pad_b2 : 1; // 0x20 (skip)
    uint16_t lb     : 1; // 0x40
    uint16_t rb     : 1; // 0x80
    uint16_t pad_b3 : 2; // 0x100, 0x200 (skip)
    uint16_t back   : 1; // 0x400
    uint16_t start  : 1; // 0x800
    uint16_t guide  : 1; // 0x1000
    uint16_t ls     : 1; // 0x2000
    uint16_t rs     : 1; // 0x4000
    uint16_t pad_b4 : 1; // 0x8000

    uint8_t  share     : 1; // 0x01
    uint8_t  pad_share : 7;
};
```

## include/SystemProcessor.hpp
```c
#pragma once

#include "HardwareManager/HardwareManager.hpp"
#include "BleService.hpp"

class SystemProcessor final {
public:
    void init(HardwareManager* hw_ptr, BleService* ble_ptr);
    void process_input_logic(const GamepadState& gamepad_state);
    void process_system_logic(const GamepadState& gamepad_state);
    void on_connected();
    void on_disconnected(bool graceful);
    void on_adv_timeout(bool discoverable);
private:
    HardwareManager* hardware_manager{ nullptr };
    BleService* ble_service{ nullptr };

    void start_advertising();
    void on_advertising_discoverable_timeout();
    static bool is_state_idle(const GamepadState& gamepad_state);

    uint8_t identity_idx{ 0 };

    int64_t system_press_start = 0;
    int64_t home_press_start = 0;

    int64_t next_battery_update_time = 0;

    int64_t last_non_idle_time = 0;

    static inline const int32_t LONG_PRESS_TIMEOUT_MS = 3'000;
    static inline const int32_t BATTERY_UPDATE_PERIOD_MS = 30'000;
    static inline const int64_t IDLE_TIMEOUT_MS = 900'000;
    static inline const uint16_t AXIS_ACTIVITY_THRESHOLD = 2048;
};
```
